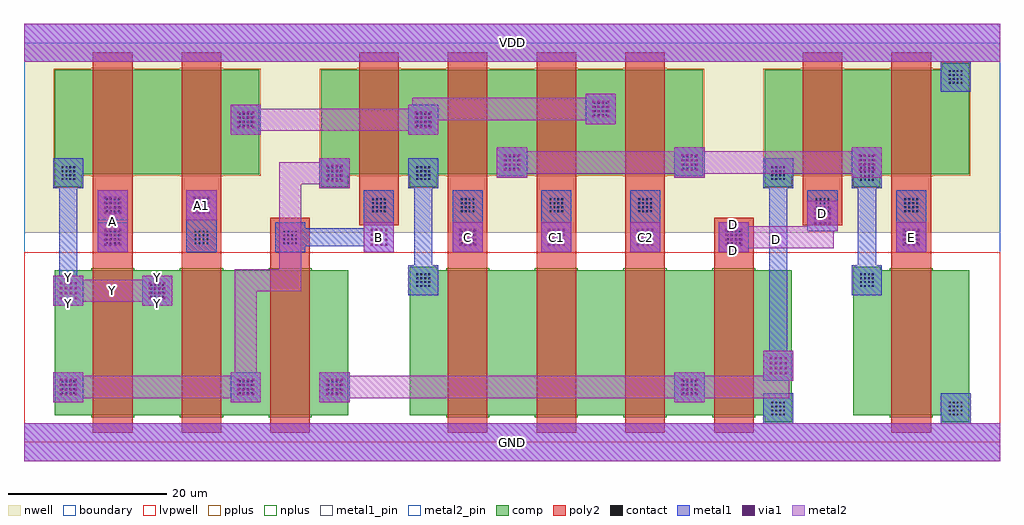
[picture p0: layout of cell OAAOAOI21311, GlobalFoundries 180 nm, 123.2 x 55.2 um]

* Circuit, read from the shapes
.subckt OAAOAOI21311 A A1 B C C1 C2 D E GND VDD Y
XM1 Y A n1 VSUBS nfet_03v3 w=18.3u l=5u
XM2 n1 A1 Y VSUBS nfet_03v3 w=18.3u l=5u
XM3 n2 B n1 VSUBS nfet_03v3 w=18.3u l=5u
XM4 n3 C n4 VSUBS nfet_03v3 w=18.3u l=5u
XM5 n5 C1 n3 VSUBS nfet_03v3 w=18.3u l=5u
XM6 n2 C2 n5 VSUBS nfet_03v3 w=18.3u l=5u
XM7 GND D n2 VSUBS nfet_03v3 w=18.3u l=5u
XM8 GND E n6 VSUBS nfet_03v3 w=18.3u l=5u
XM9 n7 A Y n8 pfet_03v3 w=13.2u l=5u
XM10 n4 A1 n7 n8 pfet_03v3 w=13.2u l=5u
XM11 n4 B n1 n8 pfet_03v3 w=13.2u l=5u
XM12 n6 C n4 n8 pfet_03v3 w=13.2u l=5u
XM13 n4 C1 n6 n8 pfet_03v3 w=13.2u l=5u
XM14 n6 C2 n4 n8 pfet_03v3 w=13.2u l=5u
XM15 n6 D n2 n8 pfet_03v3 w=13.2u l=5u
XM16 VDD E n6 n8 pfet_03v3 w=13.2u l=5u
.ends

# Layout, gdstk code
import gdstk
lib = gdstk.Library(unit=1e-6, precision=1e-09)
def R(c, l, rs):  # rectangles x0, y0, x1, y1
    for r in rs: c.add(gdstk.rectangle(r[:2], r[2:], *l))
def A(c, l, x, y, w, h, nx, ny, dx, dy):  # array of equal rectangles
    R(c, l, [(x+i*dx, y+j*dy, x+i*dx+w, y+j*dy+h) for i in range(nx) for j in range(ny)])
boundary = (0, 0)
nwell = (21, 0)
comp = (22, 0)
poly2 = (30, 0)
pplus = (31, 0)
nplus = (32, 0)
contact = (33, 0)
metal1 = (34, 0)
metal1_pin = (34, 10)
via1 = (35, 0)
metal2 = (36, 0)
metal2_pin = (36, 10)
lvpwell = (204, 0)

oaaoaoi21311 = lib.new_cell('OAAOAOI21311')
R(oaaoaoi21311, boundary, [(0,0,123.2,50.4)])
R(oaaoaoi21311, nwell, [(0,26.45,123.2,50.4)])
R(oaaoaoi21311, comp, [(93.5,2.55,96.9,3.4), (115.9,2.55,119.3,3.4), (3.9,3.4,40.9,21.7), (48.7,3.4,96.9,21.7), (104.7,3.4,119.3,21.7), (48.7,21.7,52.1,22.15), (104.7,21.7,108.1,22.15), (3.9,32.25,7.3,33.8), (37.5,32.25,40.9,33.8), (48.7,32.25,52.1,33.8), (93.5,32.25,96.9,33.8), (104.7,32.25,108.1,33.8), (59.9,33.6,63.3,33.8), (82.3,33.6,85.7,33.8), (3.9,33.8,29.7,47), (37.5,33.8,85.7,47), (93.5,33.8,119.3,47), (115.9,47,119.3,47.8)])
A(oaaoaoi21311, poly2, 53.5, 1.2, 5, 48, 3, 1, 11.2, 0)
R(oaaoaoi21311, poly2, [(8.7,1.2,13.7,49.2), (19.9,1.2,24.9,49.2), (31.1,1.2,36.1,28.35), (87.1,1.2,92.1,28.35), (109.5,1.2,114.5,49.2), (42.3,27.4,47.3,49.2), (98.3,27.4,103.3,49.2)])
A(oaaoaoi21311, pplus, 42.07, 33.57, 5.46, 0.07, 4, 2, 11.2, 13.59)
R(oaaoaoi21311, pplus, [(3.74,32.09,7.46,33.64), (37.34,32.09,41.06,33.64), (48.54,32.09,52.26,33.64), (93.34,32.09,97.06,33.64), (104.54,32.09,108.26,33.64), (59.74,33.44,63.46,33.64), (82.14,33.44,85.86,33.64), (8.47,33.57,13.93,33.64), (19.67,33.57,25.13,33.64), (98.07,33.57,103.53,33.64), (109.27,33.57,114.73,33.64), (3.74,33.64,29.86,47.16), (37.34,33.64,85.86,47.16), (93.34,33.64,119.46,47.16), (8.47,47.16,13.93,47.23), (19.67,47.16,25.13,47.23), (98.07,47.16,103.53,47.23), (109.27,47.16,114.73,47.23), (115.74,47.16,119.46,47.96)])
A(oaaoaoi21311, nplus, 8.47, 3.17, 5.46, 0.21, 3, 2, 11.2, 18.55)
A(oaaoaoi21311, nplus, 53.27, 3.17, 5.46, 0.21, 4, 2, 11.2, 18.55)
R(oaaoaoi21311, nplus, [(93.48,2.53,96.92,3.38), (115.88,2.53,119.32,3.38), (109.27,3.17,114.73,3.38), (3.88,3.38,40.92,21.72), (48.68,3.38,96.92,21.72), (104.68,3.38,119.32,21.72), (48.68,21.72,52.12,22.17), (104.68,21.72,108.12,22.17), (109.27,21.72,114.73,21.93)])
A(oaaoaoi21311, contact, 94.34, 3.39, 0.22, 0.22, 4, 4, 0.5, 0.5)
A(oaaoaoi21311, contact, 116.74, 3.39, 0.22, 0.22, 4, 4, 0.5, 0.5)
A(oaaoaoi21311, contact, 4.74, 6.09, 0.22, 0.22, 4, 4, 0.5, 0.5)
A(oaaoaoi21311, contact, 27.14, 6.09, 0.22, 0.22, 4, 4, 0.5, 0.5)
A(oaaoaoi21311, contact, 38.34, 6.09, 0.22, 0.22, 4, 4, 0.5, 0.5)
A(oaaoaoi21311, contact, 83.14, 6.09, 0.22, 0.22, 4, 4, 0.5, 0.5)
A(oaaoaoi21311, contact, 15.94, 18.24, 0.22, 0.22, 4, 4, 0.5, 0.5)
A(oaaoaoi21311, contact, 49.54, 19.59, 0.22, 0.22, 4, 4, 0.5, 0.5)
A(oaaoaoi21311, contact, 105.54, 19.59, 0.22, 0.22, 4, 4, 0.5, 0.5)
A(oaaoaoi21311, contact, 10.34, 24.99, 0.22, 0.22, 4, 4, 0.5, 0.5)
A(oaaoaoi21311, contact, 21.54, 24.99, 0.22, 0.22, 4, 4, 0.5, 0.5)
A(oaaoaoi21311, contact, 32.74, 24.99, 0.22, 0.22, 4, 4, 0.5, 0.5)
A(oaaoaoi21311, contact, 55.14, 24.99, 0.22, 0.22, 4, 4, 0.5, 0.5)
A(oaaoaoi21311, contact, 66.34, 24.99, 0.22, 0.22, 4, 4, 0.5, 0.5)
A(oaaoaoi21311, contact, 77.54, 24.99, 0.22, 0.22, 4, 4, 0.5, 0.5)
A(oaaoaoi21311, contact, 88.74, 24.99, 0.22, 0.22, 4, 4, 0.5, 0.5)
A(oaaoaoi21311, contact, 111.14, 24.99, 0.22, 0.22, 4, 4, 0.5, 0.5)
A(oaaoaoi21311, contact, 10.34, 29.04, 0.22, 0.22, 4, 4, 0.5, 0.5)
A(oaaoaoi21311, contact, 21.54, 29.04, 0.22, 0.22, 4, 4, 0.5, 0.5)
A(oaaoaoi21311, contact, 43.94, 29.04, 0.22, 0.22, 4, 4, 0.5, 0.5)
A(oaaoaoi21311, contact, 55.14, 29.04, 0.22, 0.22, 4, 4, 0.5, 0.5)
A(oaaoaoi21311, contact, 66.34, 29.04, 0.22, 0.22, 4, 4, 0.5, 0.5)
A(oaaoaoi21311, contact, 77.54, 29.04, 0.22, 0.22, 4, 4, 0.5, 0.5)
A(oaaoaoi21311, contact, 99.94, 29.04, 0.22, 0.22, 4, 4, 0.5, 0.5)
A(oaaoaoi21311, contact, 111.14, 29.04, 0.22, 0.22, 4, 4, 0.5, 0.5)
A(oaaoaoi21311, contact, 105.54, 33.015, 0.22, 0.22, 4, 7, 0.5, 0.5)
A(oaaoaoi21311, contact, 4.74, 33.09, 0.22, 0.22, 4, 4, 0.5, 0.5)
A(oaaoaoi21311, contact, 38.34, 33.09, 0.22, 0.22, 4, 4, 0.5, 0.5)
A(oaaoaoi21311, contact, 49.54, 33.09, 0.22, 0.22, 4, 4, 0.5, 0.5)
A(oaaoaoi21311, contact, 94.34, 33.09, 0.22, 0.22, 4, 4, 0.5, 0.5)
A(oaaoaoi21311, contact, 60.74, 34.44, 0.22, 0.22, 4, 4, 0.5, 0.5)
A(oaaoaoi21311, contact, 83.14, 34.44, 0.22, 0.22, 4, 4, 0.5, 0.5)
A(oaaoaoi21311, contact, 27.14, 39.84, 0.22, 0.22, 4, 4, 0.5, 0.5)
A(oaaoaoi21311, contact, 49.54, 39.84, 0.22, 0.22, 4, 4, 0.5, 0.5)
A(oaaoaoi21311, contact, 71.94, 41.19, 0.22, 0.22, 4, 4, 0.5, 0.5)
A(oaaoaoi21311, contact, 116.74, 45.24, 0.22, 0.22, 4, 4, 0.5, 0.5)
A(oaaoaoi21311, metal1, 54.1, 23.95, 3.8, 7.85, 3, 1, 11.2, 0)
R(oaaoaoi21311, metal1, [(0,-2.4,123.2,2.4), (93.3,2.4,97.1,6.15), (115.7,2.4,119.5,6.15), (3.7,5.05,7.5,8.85), (26.1,5.05,29.9,8.85), (37.3,5.05,41.1,8.85), (82.1,5.05,85.9,8.85), (93.3,7.75,97.1,11.55), (94.05,11.55,96.35,32.05), (3.7,17.2,7.5,21), (14.9,17.2,18.7,21), (48.5,18.55,52.3,22.35), (104.5,18.55,108.3,22.35), (4.45,21,6.75,32.05), (49.25,22.35,51.55,32.05), (105.25,22.35,107.55,32.05), (9.3,23.95,13.1,27.75), (20.5,23.95,24.3,31.8), (31.7,23.95,35.5,24.7), (42.9,23.95,46.7,24.7), (87.7,23.95,91.5,27.75), (110.1,23.95,113.9,31.8), (31.7,24.7,46.7,27), (98.9,26.65,102.7,31.8), (31.7,27,35.5,27.75), (42.9,27,46.7,31.8), (9.3,28,13.1,31.8), (3.7,32.05,7.5,35.85), (37.3,32.05,41.1,35.85), (48.5,32.05,52.3,35.85), (93.3,32.05,97.1,35.85), (104.5,32.05,108.3,37.2), (59.7,33.4,63.5,37.2), (82.1,33.4,85.9,37.2), (26.1,38.8,29.9,42.6), (48.5,38.8,52.3,42.6), (70.9,40.15,74.7,43.95), (115.7,44.2,119.5,48), (0,48,123.2,52.8)])
R(oaaoaoi21311, metal1_pin, [(0,-2.4,123.2,2.4), (0,48,123.2,52.8)])
A(oaaoaoi21311, via1, 4.54, 5.89, 0.26, 0.26, 4, 4, 0.62, 0.62)
A(oaaoaoi21311, via1, 26.94, 5.89, 0.26, 0.26, 4, 4, 0.62, 0.62)
A(oaaoaoi21311, via1, 38.14, 5.89, 0.26, 0.26, 4, 4, 0.62, 0.62)
A(oaaoaoi21311, via1, 82.94, 5.89, 0.26, 0.26, 4, 4, 0.62, 0.62)
A(oaaoaoi21311, via1, 94.14, 8.59, 0.26, 0.26, 4, 4, 0.62, 0.62)
A(oaaoaoi21311, via1, 4.54, 18.04, 0.26, 0.26, 4, 4, 0.62, 0.62)
A(oaaoaoi21311, via1, 15.74, 18.04, 0.26, 0.26, 4, 4, 0.62, 0.62)
A(oaaoaoi21311, via1, 10.14, 24.79, 0.26, 0.26, 4, 4, 0.62, 0.62)
A(oaaoaoi21311, via1, 43.74, 24.79, 0.26, 0.26, 4, 4, 0.62, 0.62)
A(oaaoaoi21311, via1, 54.94, 24.79, 0.26, 0.26, 4, 4, 0.62, 0.62)
A(oaaoaoi21311, via1, 66.14, 24.79, 0.26, 0.26, 4, 4, 0.62, 0.62)
A(oaaoaoi21311, via1, 77.34, 24.79, 0.26, 0.26, 4, 4, 0.62, 0.62)
A(oaaoaoi21311, via1, 88.54, 24.79, 0.26, 0.26, 4, 4, 0.62, 0.62)
A(oaaoaoi21311, via1, 110.94, 24.79, 0.26, 0.26, 4, 4, 0.62, 0.62)
A(oaaoaoi21311, via1, 99.74, 27.49, 0.26, 0.26, 4, 4, 0.62, 0.62)
A(oaaoaoi21311, via1, 10.14, 28.84, 0.26, 0.26, 4, 4, 0.62, 0.62)
A(oaaoaoi21311, via1, 21.34, 28.84, 0.26, 0.26, 4, 4, 0.62, 0.62)
A(oaaoaoi21311, via1, 38.14, 32.89, 0.26, 0.26, 4, 4, 0.62, 0.62)
A(oaaoaoi21311, via1, 60.54, 34.24, 0.26, 0.26, 4, 4, 0.62, 0.62)
A(oaaoaoi21311, via1, 82.94, 34.24, 0.26, 0.26, 4, 4, 0.62, 0.62)
A(oaaoaoi21311, via1, 105.34, 34.24, 0.26, 0.26, 4, 4, 0.62, 0.62)
A(oaaoaoi21311, via1, 26.94, 39.64, 0.26, 0.26, 4, 4, 0.62, 0.62)
A(oaaoaoi21311, via1, 49.34, 39.64, 0.26, 0.26, 4, 4, 0.62, 0.62)
A(oaaoaoi21311, via1, 71.74, 40.99, 0.26, 0.26, 4, 4, 0.62, 0.62)
A(oaaoaoi21311, metal2, 42.9, 23.95, 3.8, 3.8, 4, 1, 11.2, 0)
A(oaaoaoi21311, metal2, 59.7, 33.4, 3.8, 0.5, 3, 2, 22.4, 3.3)
R(oaaoaoi21311, metal2, [(0,-2.4,123.2,2.4), (3.7,5.05,7.5,5.55), (26.1,5.05,29.9,5.55), (37.3,5.05,41.1,5.55), (82.1,5.05,85.9,5.55), (3.7,5.55,29.9,8.35), (37.3,5.55,96.6,7.75), (37.3,7.75,97.1,8.35), (3.7,8.35,7.5,8.85), (26.1,8.35,29.9,8.85), (37.3,8.35,41.1,8.85), (82.1,8.35,85.9,8.85), (93.3,8.35,97.1,11.55), (26.6,8.85,29.4,19.05), (3.7,17.2,7.5,17.7), (14.9,17.2,18.7,17.7), (3.7,17.7,18.7,20.5), (26.6,19.05,35,21.85), (3.7,20.5,7.5,21), (14.9,20.5,18.7,21), (32.2,21.85,35,32.55), (9.3,23.95,13.1,31.8), (87.7,23.95,91.5,24.45), (110.1,23.95,113.9,27.75), (87.7,24.45,102.2,26.65), (87.7,26.65,102.7,27.25), (87.7,27.25,91.5,27.75), (98.9,27.25,102.7,30.45), (20.5,28,24.3,31.8), (37.3,32.05,41.1,32.55), (32.2,32.55,41.1,35.35), (59.7,33.9,108.3,36.7), (37.3,35.35,41.1,35.85), (26.1,38.8,29.9,39.3), (48.5,38.8,52.3,39.3), (26.1,39.3,52.3,40.65), (70.9,40.15,74.7,40.65), (26.1,40.65,74.7,42.1), (26.1,42.1,29.9,42.6), (48.5,42.1,74.7,42.6), (49,42.6,74.7,43.45), (70.9,43.45,74.7,43.95), (0,48,123.2,52.8)])
A(oaaoaoi21311, metal2_pin, 42.9, 23.95, 3.8, 3.8, 4, 1, 11.2, 0)
R(oaaoaoi21311, metal2_pin, [(3.7,17.2,7.5,17.7), (14.9,17.2,18.7,17.7), (3.7,17.7,18.7,20.5), (3.7,20.5,7.5,21), (14.9,20.5,18.7,21), (9.3,23.95,13.1,31.8), (87.7,23.95,91.5,24.45), (110.1,23.95,113.9,27.75), (87.7,24.45,102.2,26.65), (87.7,26.65,102.7,27.25), (87.7,27.25,91.5,27.75), (98.9,27.25,102.7,30.45), (20.5,28,24.3,31.8)])
R(oaaoaoi21311, lvpwell, [(0,0,123.2,23.95)])
oaaoaoi21311.add(gdstk.Label('VDD', (61.6,50.4), layer=34, texttype=10))
oaaoaoi21311.add(gdstk.Label('GND', (61.6,0), layer=34, texttype=10))
oaaoaoi21311.add(gdstk.Label('Y', (5.6,17.45), layer=36, texttype=10))
oaaoaoi21311.add(gdstk.Label('Y', (16.8,17.45), layer=36, texttype=10))
oaaoaoi21311.add(gdstk.Label('Y', (11.2,19.1), layer=36, texttype=10))
oaaoaoi21311.add(gdstk.Label('Y', (5.6,20.75), layer=36, texttype=10))
oaaoaoi21311.add(gdstk.Label('Y', (16.8,20.75), layer=36, texttype=10))
oaaoaoi21311.add(gdstk.Label('B', (44.8,25.85), layer=36, texttype=10))
oaaoaoi21311.add(gdstk.Label('C1', (67.2,25.85), layer=36, texttype=10))
oaaoaoi21311.add(gdstk.Label('D', (89.6,24.2), layer=36, texttype=10))
oaaoaoi21311.add(gdstk.Label('D', (94.95,25.55), layer=36, texttype=10))
oaaoaoi21311.add(gdstk.Label('D', (95.2,26.95), layer=36, texttype=10))
oaaoaoi21311.add(gdstk.Label('D', (89.6,27.5), layer=36, texttype=10))
oaaoaoi21311.add(gdstk.Label('D', (100.8,28.85), layer=36, texttype=10))
oaaoaoi21311.add(gdstk.Label('E', (112,25.85), layer=36, texttype=10))
oaaoaoi21311.add(gdstk.Label('A', (11.2,27.875), layer=36, texttype=10))
oaaoaoi21311.add(gdstk.Label('C2', (78.4,25.85), layer=36, texttype=10))
oaaoaoi21311.add(gdstk.Label('C', (56,25.85), layer=36, texttype=10))
oaaoaoi21311.add(gdstk.Label('A1', (22.4,29.9), layer=36, texttype=10))

lib.write_gds('OAAOAOI21311.gds')
